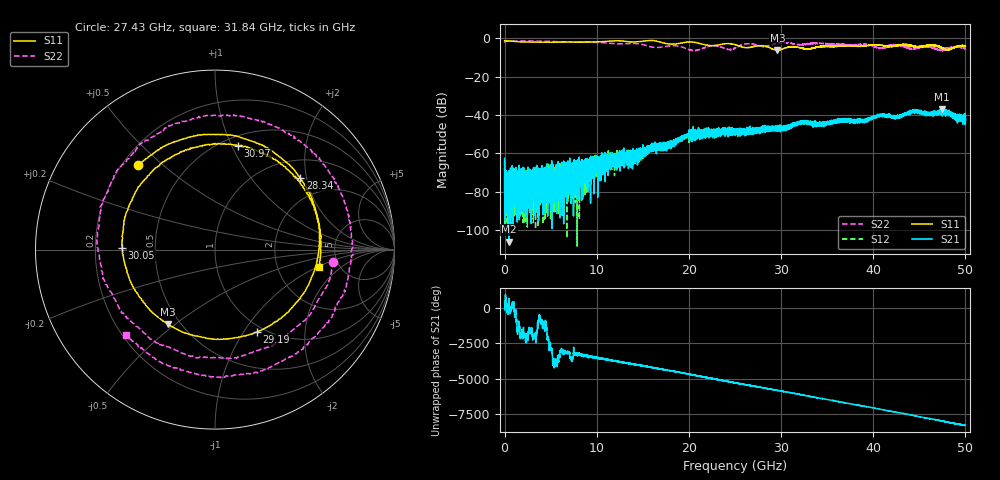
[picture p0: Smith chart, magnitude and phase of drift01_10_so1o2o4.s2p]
!Created with skrf (http://scikit-rf.org).
# Hz S RI R 50.0
!freq ReS11 ImS11 ReS21 ImS21 ReS12 ImS12 ReS22 ImS22
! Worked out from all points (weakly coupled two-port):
!   10001 points, 300 kHz to 50 GHz, reference 50 ohm
!   highest |S21| = -37.01 dB at 47.42 GHz (marker M1); lowest = -106.1 dB at 475.3 MHz (marker M2)
!   lowest |S11| = -6.2 dB at 29.61 GHz (marker M3), VSWR 2.92, Z = 21.5 - j23.4 ohm
!   |S11| at or under -10 dB: nowhere
!   |S22| runs from -6.7 to -1.4 dB; largest |S21 - S12| = 0.0037
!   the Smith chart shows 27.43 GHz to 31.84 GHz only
!   S11 on the Smith chart (normalised r, x): 27.43 GHz: 0.26, +0.41; 28.34 GHz: 1.42, +1.83; 29.19 GHz: 0.92, -1.15; 30.05 GHz: 0.32, +0.01; 30.97 GHz: 0.59, +1.06; 31.84 GHz: 3.51, -1.03
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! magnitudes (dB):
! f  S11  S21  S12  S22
! 300 kHz  -1.3  -62.6  -63.3  -2.1
! 255.3 MHz  -1.4  -78.5  -81.3  -1.4
! 475.3 MHz  -1.4  -106.1  -88.4  -1.5
! 5.37 GHz  -2.0  -71.7  -76.3  -1.7
! 6.615 GHz  -1.9  -64.9  -66.1  -1.9
! 8.335 GHz  -2.0  -66.3  -71.7  -1.8
! 16.67 GHz  -1.7  -57.3  -56.9  -4.8
! 18.62 GHz  -2.9  -55.3  -54.4  -3.9
! 20.47 GHz  -2.0  -52.1  -50.6  -6.3
! 22.59 GHz  -3.9  -49.1  -49.6  -3.8
! 25 GHz  -3.3  -48.9  -48.9  -5.1
! 27.43 GHz  -3.9  -47.3  -47.0  -3.6
! 28.34 GHz  -4.2  -46.3  -46.7  -4.2
! 29.19 GHz  -5.8  -47.4  -46.9  -3.1
! 29.61 GHz  -6.2  -46.4  -46.7  -2.5
! 30.05 GHz  -5.7  -46.7  -47.2  -2.3
! 30.97 GHz  -4.5  -46.0  -46.1  -2.5
! 31.84 GHz  -4.6  -43.7  -44.3  -3.3
! 33.34 GHz  -5.3  -44.1  -43.6  -2.6
! 41.67 GHz  -4.3  -40.5  -40.7  -4.3
! 47.42 GHz  -4.9  -37.0  -39.0  -5.4
! 50 GHz  -4.0  -42.8  -42.5  -5.4
